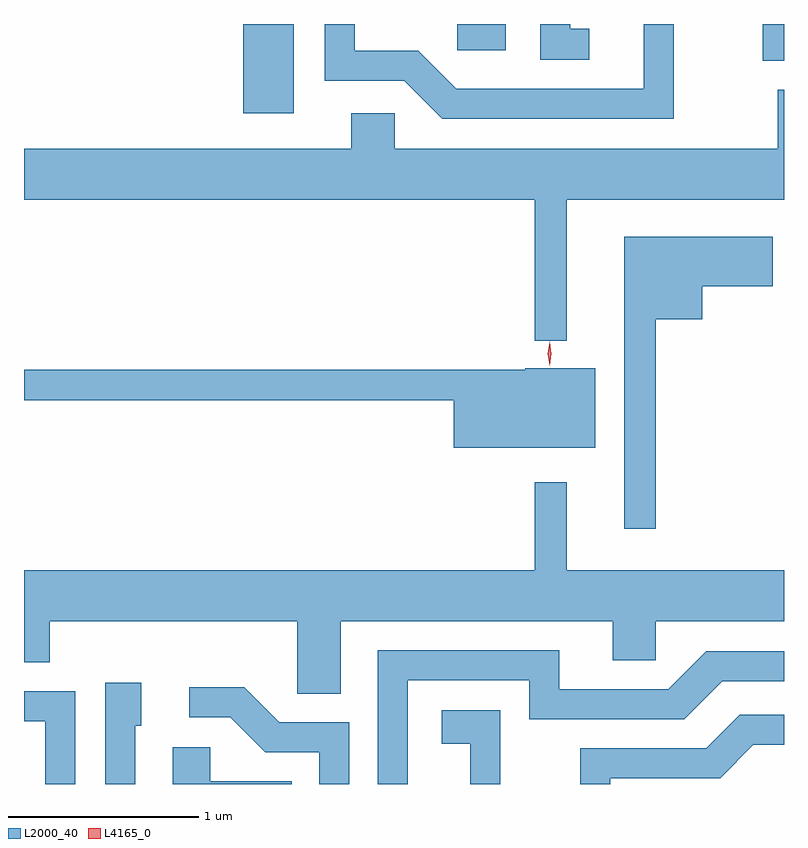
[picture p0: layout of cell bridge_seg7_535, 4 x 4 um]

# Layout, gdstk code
import gdstk
lib = gdstk.Library(unit=1e-6, precision=1e-09)
def R(c, l, rs):  # rectangles x0, y0, x1, y1
    for r in rs: c.add(gdstk.rectangle(r[:2], r[2:], *l))
def P(c, l, *ps):  # polygons
    for p in ps: c.add(gdstk.Polygon(p, *l))
L2000_40 = (2000, 40)
L4165_0 = (4165, 0)

bridge_seg7_535 = lib.new_cell('bridge_seg7_535')
R(bridge_seg7_535, L2000_40, [(856.876,1776.931,857.144,1777.4), (859.611,1777.206,859.723,1777.4), (858.003,1777.261,858.259,1777.4)])
P(bridge_seg7_535, L2000_40, [(858.698,1777.374),(858.599,1777.374),(858.599,1777.4),(858.441,1777.4),(858.441,1777.211),(858.698,1777.211)],
  [(859.144,1777.4),(858.986,1777.4),(858.986,1777.059),(857.997,1777.059),(857.797,1777.259),(857.464,1777.259),(857.464,1777.4),(857.306,1777.4),(857.306,1777.101),(857.724,1777.101),(857.924,1776.901),(859.144,1776.901)],
  [(858.579,1776.476),(859.723,1776.476),(859.723,1777.054),(859.691,1777.054),(859.691,1776.744),(857.674,1776.744),(857.674,1776.929),(857.446,1776.929),(857.446,1776.744),(855.723,1776.744),(855.723,1776.476),(858.411,1776.476),(858.411,1775.733),(858.579,1775.733)],
  [(859.049,1775.846),(859.294,1775.846),(859.294,1776.021),(859.664,1776.021),(859.664,1776.279),(858.881,1776.279),(858.881,1774.743),(859.049,1774.743)],
  [(858.729,1775.589),(858.36,1775.589),(858.36,1775.579),(855.723,1775.579),(855.723,1775.421),(857.986,1775.421),(857.986,1775.171),(858.729,1775.171)],
  [(857.389,1774.256),(858.821,1774.256),(858.821,1774.051),(859.049,1774.051),(859.049,1774.256),(859.723,1774.256),(859.723,1774.524),(858.579,1774.524),(858.579,1774.988),(858.411,1774.988),(858.411,1774.524),(855.723,1774.524),(855.723,1774.041),(855.859,1774.041),(855.859,1774.256),(857.161,1774.256),(857.161,1773.876),(857.389,1773.876)],
  [(857.744,1773.946),(858.381,1773.946),(858.381,1773.741),(859.197,1773.741),(859.397,1773.941),(859.723,1773.941),(859.723,1774.099),(859.314,1774.099),(859.114,1773.899),(858.539,1773.899),(858.539,1774.104),(857.586,1774.104),(857.586,1773.4),(857.744,1773.4)],
  [(856.309,1773.706),(856.339,1773.706),(856.339,1773.934),(856.151,1773.934),(856.151,1773.4),(856.309,1773.4)],
  [(857.434,1773.724),(857.067,1773.724),(856.882,1773.909),(856.593,1773.909),(856.593,1773.751),(856.809,1773.751),(856.994,1773.566),(857.276,1773.566),(857.276,1773.4),(857.434,1773.4)],
  [(855.994,1773.889),(855.723,1773.889),(855.723,1773.731),(855.836,1773.731),(855.836,1773.4),(855.994,1773.4)],
  [(858.229,1773.789),(857.921,1773.789),(857.921,1773.611),(858.071,1773.611),(858.071,1773.4),(858.229,1773.4)],
  [(858.809,1773.431),(859.387,1773.431),(859.562,1773.606),(859.723,1773.606),(859.723,1773.764),(859.489,1773.764),(859.314,1773.589),(858.651,1773.589),(858.651,1773.4),(858.809,1773.4)],
  [(857.133,1773.414),(856.704,1773.414),(856.704,1773.594),(856.506,1773.594),(856.506,1773.4),(857.133,1773.4)])
P(bridge_seg7_535, L4165_0, [(858.489,1775.602),(858.489,1775.602),(858.479,1775.664),(858.489,1775.726),(858.489,1775.727),(858.49,1775.726),(858.499,1775.664),(858.49,1775.602)])

lib.write_gds('bridge_seg7_535.gds')
